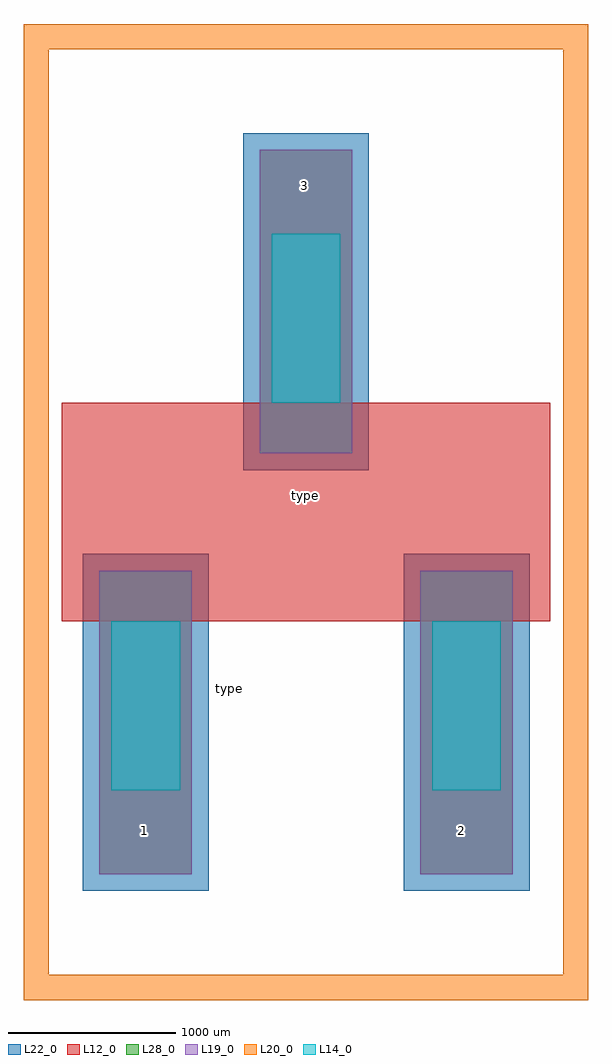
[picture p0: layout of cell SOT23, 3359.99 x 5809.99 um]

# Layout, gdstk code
import gdstk
lib = gdstk.Library(unit=1e-6, precision=1e-09)
def R(c, l, rs):  # rectangles x0, y0, x1, y1
    for r in rs: c.add(gdstk.rectangle(r[:2], r[2:], *l))
L12_0 = (12, 0)
L14_0 = (14, 0)
L19_0 = (19, 0)
L20_0 = (20, 0)
L22_0 = (22, 0)
L28_0 = (28, 0)

sot23 = lib.new_cell('SOT23')
R(sot23, L12_0, [(0,0,2910,1300)])
R(sot23, L14_0, [(295.706,-1004.997,705.706,0), (2205.706,-1004.997,2615.706,0), (1250,1299.995,1660,2304.995)])
R(sot23, L19_0, [(225.706,-1504.997,775.706,300), (2135.706,-1504.997,2685.706,300), (1180,999.995,1730,2804.995)])
R(sot23, L22_0, [(125.706,-1604.997,875.706,400), (2035.706,-1604.997,2785.706,400), (1080,899.995,1830,2904.995)])
R(sot23, L28_0, [(225.706,-1504.997,775.706,300), (2135.706,-1504.997,2685.706,300), (1180,999.995,1730,2804.995)])
sot23.add(gdstk.FlexPath([(-150,3404.995),(-150,-2180),(3059.995,-2180),(3059.995,3479.995),(-225,3479.995)], 150, ends="flush", simple_path=True, layer=20, datatype=0))  # L20_0
sot23.add(gdstk.Label('devicename', (-700,650), layer=20, texttype=0))
sot23.add(gdstk.Label('type', (1000,-400), layer=20, texttype=0))
sot23.add(gdstk.Label('type', (1450,750), layer=10, texttype=0))
sot23.add(gdstk.Label('1', (490.706,-1244.997), layer=28, texttype=0))
sot23.add(gdstk.Label('2', (2380.706,-1244.997), layer=28, texttype=0))
sot23.add(gdstk.Label('3', (1445,2594.995), layer=28, texttype=0))

lib.write_gds('SOT23.gds')
